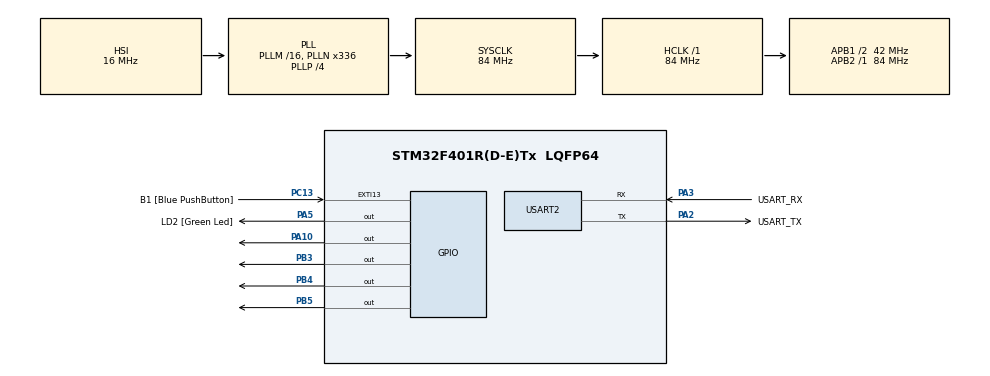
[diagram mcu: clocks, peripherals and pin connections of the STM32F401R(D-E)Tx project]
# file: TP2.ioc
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Mcu.Family=STM32F4
Mcu.Name=STM32F401R(D-E)Tx
Mcu.Package=LQFP64
NVIC.PriorityGroup=NVIC_PRIORITYGROUP_0
PA10.Signal=GPIO_Output
PA13.GPIO_Label=TMS
PA13.Mode=Serial_Wire
PA13.Signal=SYS_JTMS-SWDIO
PA14.GPIO_Label=TCK
PA14.Mode=Serial_Wire
PA14.Signal=SYS_JTCK-SWCLK
PA2.GPIO_Label=USART_TX
PA2.GPIO_Mode=GPIO_MODE_AF_PP
PA2.GPIO_PuPd=GPIO_NOPULL
PA2.GPIO_Speed=GPIO_SPEED_FREQ_LOW
PA2.Mode=Asynchronous
PA2.Signal=USART2_TX
PA3.GPIO_Label=USART_RX
PA3.GPIO_Mode=GPIO_MODE_AF_PP
PA3.GPIO_PuPd=GPIO_NOPULL
PA3.GPIO_Speed=GPIO_SPEED_FREQ_LOW
PA3.Mode=Asynchronous
PA3.Signal=USART2_RX
PA5.GPIO_Label=LD2 [Green Led]
PA5.GPIO_Mode=GPIO_MODE_OUTPUT_PP
PA5.GPIO_PuPd=GPIO_NOPULL
PA5.GPIO_Speed=GPIO_SPEED_FREQ_LOW
PA5.Signal=GPIO_Output
PB3.Signal=GPIO_Output
PB4.Signal=GPIO_Output
PB5.Signal=GPIO_Output
PC13-ANTI_TAMP.GPIO_Label=B1 [Blue PushButton]
PC13-ANTI_TAMP.GPIO_ModeDefaultEXTI=GPIO_MODE_IT_FALLING
PC13-ANTI_TAMP.GPIO_PuPd=GPIO_NOPULL
PC13-ANTI_TAMP.Signal=GPXTI13
PC14-OSC32_IN.Mode=LSE-External-Oscillator
PC14-OSC32_IN.Signal=RCC_OSC32_IN
PC15-OSC32_OUT.Mode=LSE-External-Oscillator
PC15-OSC32_OUT.Signal=RCC_OSC32_OUT
PH0\ -\ OSC_IN.Mode=HSE-External-Clock-Source
PH0\ -\ OSC_IN.Signal=RCC_OSC_IN
PH1\ -\ OSC_OUT.Mode=HSE-External-Clock-Source
PH1\ -\ OSC_OUT.Signal=RCC_OSC_OUT
ProjectManager.HeapSize=0x200
ProjectManager.StackSize=0x400
ProjectManager.TargetToolchain=STM32CubeIDE
RCC.48MHZClocksFreq_Value=48000000
RCC.AHBFreq_Value=84000000
RCC.APB1CLKDivider=RCC_HCLK_DIV2
RCC.APB1Freq_Value=42000000
RCC.APB1TimFreq_Value=84000000
RCC.APB2Freq_Value=84000000
RCC.APB2TimFreq_Value=84000000
RCC.CortexFreq_Value=84000000
RCC.HCLKFreq_Value=84000000
RCC.HSE_VALUE=8000000
RCC.HSI_VALUE=16000000
RCC.PLLN=336
RCC.PLLP=RCC_PLLP_DIV4
RCC.PLLQ=7
RCC.SYSCLKFreq_VALUE=84000000
RCC.SYSCLKSource=RCC_SYSCLKSOURCE_PLLCLK
RCC.VCOOutputFreq_Value=336000000
USART2.VirtualMode=VM_ASYNC
board=NUCLEO-F401RE

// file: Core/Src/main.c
/* USER CODE BEGIN Header */
/**
  ******************************************************************************
  * @file           : main.c
  * @brief          : Main program body
  ******************************************************************************
  * @attention
  *
  * Copyright (c) 2023 STMicroelectronics.
  * All rights reserved.
  *
  * This software is licensed under terms that can be found in the LICENSE file
  * in the root directory of this software component.
  * If no LICENSE file comes with this software, it is provided AS-IS.
  *
  ******************************************************************************
  */
/* USER CODE END Header */
#include "main.h"

/* USER CODE BEGIN Includes */

#include <stdbool.h>
#include <stdint.h>
#include <inttypes.h>
#include <stdio.h>
#include <assert.h>

/* USER CODE END Includes */

/* USER CODE BEGIN PD */

// Duraciones de encendido de cada LED en ms
#define LED1_DUR 50
#define LED2_DUR 100
#define LED3_DUR 200

// Defino los PINes donde se conectan los LED 1 2 3
#define PIN_1 GPIO_PIN_4
#define PIN_2 GPIO_PIN_5
#define PIN_3 GPIO_PIN_3

/* USER CODE END PD */

UART_HandleTypeDef huart2;

void SystemClock_Config(void);
static void MX_GPIO_Init(void);
static void MX_USART2_UART_Init(void);

/* USER CODE BEGIN 0 */

// Funcion para inicializar el contador de duracion "duration".
void delayInit( delay_t * delay, tick_t duration )
{
	assert(delay != NULL);
	assert(duration > 0);

	delay->duration = duration;
	delay->running = false;
}

// Funcion para leer el estado del contador:
// Si llego al objetivo, finalizarlo y devolver true.
// Si no se encuentra inicializado, iniciarlo y devolver false.
bool_t delayRead( delay_t * delay )
{
	assert(delay != NULL);

	if(delay->running == false)
	{
		// Inicia el contador
		delay->running = true;
		delay->startTime = HAL_GetTick();
	}
	else
	{
		// Si ya se cumplio el tiempo, anula el contador
		tick_t actual_time = HAL_GetTick();
		if (actual_time - delay->startTime >= delay->duration)
		{
			delay->running = false;
			return true;
		}
	}
	return false;
}

// Funcion para escribir una nueva duracion del contador.
void delayWrite( delay_t * delay, tick_t duration )
{
	assert(delay != NULL);
	assert(duration > 0);
	delay->duration = duration;
}

/* USER CODE END 0 */

int main(void)
{
  /* USER CODE BEGIN 1 */

	/*
	 * Inicializo una estructura para cada LED
	 */
	 delay_t LED1_Delay;
	 delay_t LED2_Delay;
	 delay_t LED3_Delay;

	 /*
	  * Defino 4 duraciones para cada LED
	  */
	 tick_t LED1_Duration = LED1_DUR;
	 tick_t LED2_Duration = LED2_DUR;
	 tick_t LED3_Duration = LED3_DUR;

  /* USER CODE END 1 */

  /* MCU Configuration--------------------------------------------------------*/

  /* Reset of all peripherals, Initializes the Flash interface and the Systick. */
  HAL_Init();

  /* Configure the system clock */
  SystemClock_Config();

  /* Initialize all configured peripherals */
  MX_GPIO_Init();
  MX_USART2_UART_Init();
  /* USER CODE BEGIN 2 */

  	/*
    * Inicializo los 4 contadores
    */
    delayInit(&LED1_Delay, LED1_Duration);
    delayInit(&LED2_Delay, LED2_Duration);
    delayInit(&LED3_Delay, LED3_Duration);

  /* USER CODE END 2 */

  /* Infinite loop */
  /* USER CODE BEGIN WHILE */
  while (1)
  {
	  /*
	   * Verifico si el contador de cada LED llego al objetivo. Si llego, reinicia el contador, sino, sigue esperando y chequeando en cada loop.
	   */

	  if(delayRead(&LED1_Delay) == true)
	  {
		  HAL_GPIO_TogglePin(GPIOB, PIN_1);
	  }

	  if(delayRead(&LED2_Delay) == true)
	  {
		  HAL_GPIO_TogglePin(GPIOB, PIN_2);
	  }

	  if(delayRead(&LED3_Delay) == true)
	  {
		  HAL_GPIO_TogglePin(GPIOB, PIN_3);
	  }

    /* USER CODE END WHILE */

  }
}

void SystemClock_Config(void)
{
  RCC_OscInitTypeDef RCC_OscInitStruct = {0};
  RCC_ClkInitTypeDef RCC_ClkInitStruct = {0};

  /** Configure the main internal regulator output voltage
  */
  __HAL_RCC_PWR_CLK_ENABLE();
  __HAL_PWR_VOLTAGESCALING_CONFIG(PWR_REGULATOR_VOLTAGE_SCALE2);

  /** Initializes the RCC Oscillators according to the specified parameters
  * in the RCC_OscInitTypeDef structure.
  */
  RCC_OscInitStruct.OscillatorType = RCC_OSCILLATORTYPE_HSI;
  RCC_OscInitStruct.HSIState = RCC_HSI_ON;
  RCC_OscInitStruct.HSICalibrationValue = RCC_HSICALIBRATION_DEFAULT;
  RCC_OscInitStruct.PLL.PLLState = RCC_PLL_ON;
  RCC_OscInitStruct.PLL.PLLSource = RCC_PLLSOURCE_HSI;
  RCC_OscInitStruct.PLL.PLLM = 16;
  RCC_OscInitStruct.PLL.PLLN = 336;
  RCC_OscInitStruct.PLL.PLLP = RCC_PLLP_DIV4;
  RCC_OscInitStruct.PLL.PLLQ = 7;
  if (HAL_RCC_OscConfig(&RCC_OscInitStruct) != HAL_OK)
  {
    Error_Handler();
  }

  /** Initializes the CPU, AHB and APB buses clocks
  */
  RCC_ClkInitStruct.ClockType = RCC_CLOCKTYPE_HCLK|RCC_CLOCKTYPE_SYSCLK
                              |RCC_CLOCKTYPE_PCLK1|RCC_CLOCKTYPE_PCLK2;
  RCC_ClkInitStruct.SYSCLKSource = RCC_SYSCLKSOURCE_PLLCLK;
  RCC_ClkInitStruct.AHBCLKDivider = RCC_SYSCLK_DIV1;
  RCC_ClkInitStruct.APB1CLKDivider = RCC_HCLK_DIV2;
  RCC_ClkInitStruct.APB2CLKDivider = RCC_HCLK_DIV1;

  if (HAL_RCC_ClockConfig(&RCC_ClkInitStruct, FLASH_LATENCY_2) != HAL_OK)
  {
    Error_Handler();
  }
}

static void MX_USART2_UART_Init(void)
{

  huart2.Instance = USART2;
  huart2.Init.BaudRate = 115200;
  huart2.Init.WordLength = UART_WORDLENGTH_8B;
  huart2.Init.StopBits = UART_STOPBITS_1;
  huart2.Init.Parity = UART_PARITY_NONE;
  huart2.Init.Mode = UART_MODE_TX_RX;
  huart2.Init.HwFlowCtl = UART_HWCONTROL_NONE;
  huart2.Init.OverSampling = UART_OVERSAMPLING_16;
  if (HAL_UART_Init(&huart2) != HAL_OK)
  {
    Error_Handler();
  }

}

static void MX_GPIO_Init(void)
{
  GPIO_InitTypeDef GPIO_InitStruct = {0};

  /* GPIO Ports Clock Enable */
  __HAL_RCC_GPIOC_CLK_ENABLE();
  __HAL_RCC_GPIOH_CLK_ENABLE();
  __HAL_RCC_GPIOA_CLK_ENABLE();
  __HAL_RCC_GPIOB_CLK_ENABLE();

  /*Configure GPIO pin Output Level */
  HAL_GPIO_WritePin(GPIOA, LD2_Pin|GPIO_PIN_10, GPIO_PIN_RESET);

  /*Configure GPIO pin Output Level */
  HAL_GPIO_WritePin(GPIOB, GPIO_PIN_3|GPIO_PIN_4|GPIO_PIN_5, GPIO_PIN_RESET);

  /*Configure GPIO pin : B1_Pin */
  GPIO_InitStruct.Pin = B1_Pin;
  GPIO_InitStruct.Mode = GPIO_MODE_IT_FALLING;
  GPIO_InitStruct.Pull = GPIO_NOPULL;
  HAL_GPIO_Init(B1_GPIO_Port, &GPIO_InitStruct);

  /*Configure GPIO pins : LD2_Pin PA10 */
  GPIO_InitStruct.Pin = LD2_Pin|GPIO_PIN_10;
  GPIO_InitStruct.Mode = GPIO_MODE_OUTPUT_PP;
  GPIO_InitStruct.Pull = GPIO_NOPULL;
  GPIO_InitStruct.Speed = GPIO_SPEED_FREQ_LOW;
  HAL_GPIO_Init(GPIOA, &GPIO_InitStruct);

  /*Configure GPIO pins : PB3 PB4 PB5 */
  GPIO_InitStruct.Pin = GPIO_PIN_3|GPIO_PIN_4|GPIO_PIN_5;
  GPIO_InitStruct.Mode = GPIO_MODE_OUTPUT_PP;
  GPIO_InitStruct.Pull = GPIO_NOPULL;
  GPIO_InitStruct.Speed = GPIO_SPEED_FREQ_LOW;
  HAL_GPIO_Init(GPIOB, &GPIO_InitStruct);

}

void Error_Handler(void)
{
  __disable_irq();
  while (1)
  {
  }
}
